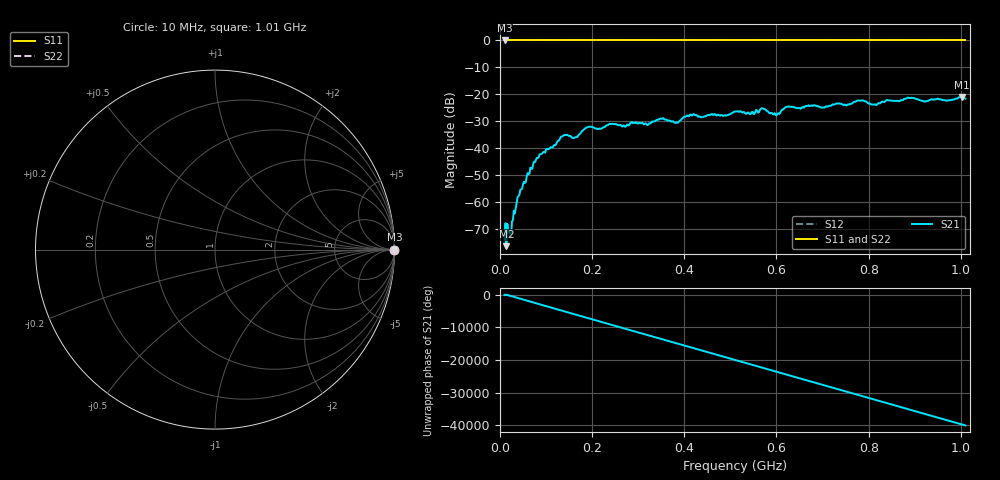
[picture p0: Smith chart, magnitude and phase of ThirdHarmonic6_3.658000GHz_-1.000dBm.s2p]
! 8/17/2025 12:20:02 PM
! C:\ANRITSUVNA\TEMP\TEMP.S2P
! CHANNEL.1
! TR.MEASUREMENT
! RAW.DATA
! RF.CORRECTION.OFF
! AVERAGING.OFF
! IF.BANDWIDTH: 5KHZ
! SWEEPTYPE:  FREQ.SWEEP(Linear)
! Reference Plane Port Info
! PORT:  PORT1  PORT2
! DISTANCE:  0  m  0  m
! TIME:  0  s  0  s
! PHASE.OFFSET:  0  deg.  0  deg.
! LOSS:  0  dB  0  dB
! REF.LOSS:  0  dB  0  dB
! REF.FREQ:  0  Hz  0  Hz
! Power Info
! POWER:  -20  dBm  -20  dBm
! EFF.POWER:  -20  dBm  -20  dBm
! SOURCE.ATTEN:  0  dB  0  dB
! TEST.ATTEN:  0  dB  0  dB
# GHZ S RI R 50.0
! FREQ.GHZ  S11RE  S11IM  S21RE  S21IM  S12RE  S12IM  S22RE  S22IM
!; PortSelection: Port_12
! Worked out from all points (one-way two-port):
!   501 points, 10 MHz to 1.01 GHz, reference 50 ohm
!   highest |S21| = -20.98 dB at 1.002 GHz (marker M1); lowest = -76.5 dB at 14 MHz (marker M2)
!   lowest |S11| = 0.0 dB at 10 MHz (marker M3)
!   |S11| at or under -10 dB: nowhere
!   |S22| runs from 0.0 to 0.0 dB; largest |S21 - S12| = 1.1
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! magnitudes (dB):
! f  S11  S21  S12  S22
! 10 MHz  0.0  -74.0  0.0  0.0
! 14 MHz  0.0  -76.5  0.0  0.0
! 22 MHz  0.0  -71.9  0.0  0.0
! 42 MHz  0.0  -57.4  0.0  0.0
! 76 MHz  0.0  -45.2  0.0  0.0
! 136 MHz  0.0  -35.6  0.0  0.0
! 164 MHz  0.0  -36.0  0.0  0.0
! 178 MHz  0.0  -33.7  0.0  0.0
! 192 MHz  0.0  -32.1  0.0  0.0
! 322 MHz  0.0  -31.2  0.0  0.0
! 344 MHz  0.0  -29.5  0.0  0.0
! 382 MHz  0.0  -30.6  0.0  0.0
! 416 MHz  0.0  -27.9  0.0  0.0
! 510 MHz  0.0  -26.5  0.0  0.0
! 548 MHz  0.0  -26.5  0.0  0.0
! 570 MHz  0.0  -25.2  0.0  0.0
! 602 MHz  0.0  -27.2  0.0  0.0
! 622 MHz  0.0  -24.7  0.0  0.0
! 678 MHz  0.0  -24.4  0.0  0.0
! 844 MHz  0.0  -22.3  0.0  0.0
! 1.002 GHz  0.0  -21.0  0.0  0.0
! 1.01 GHz  0.0  -21.6  0.0  0.0
